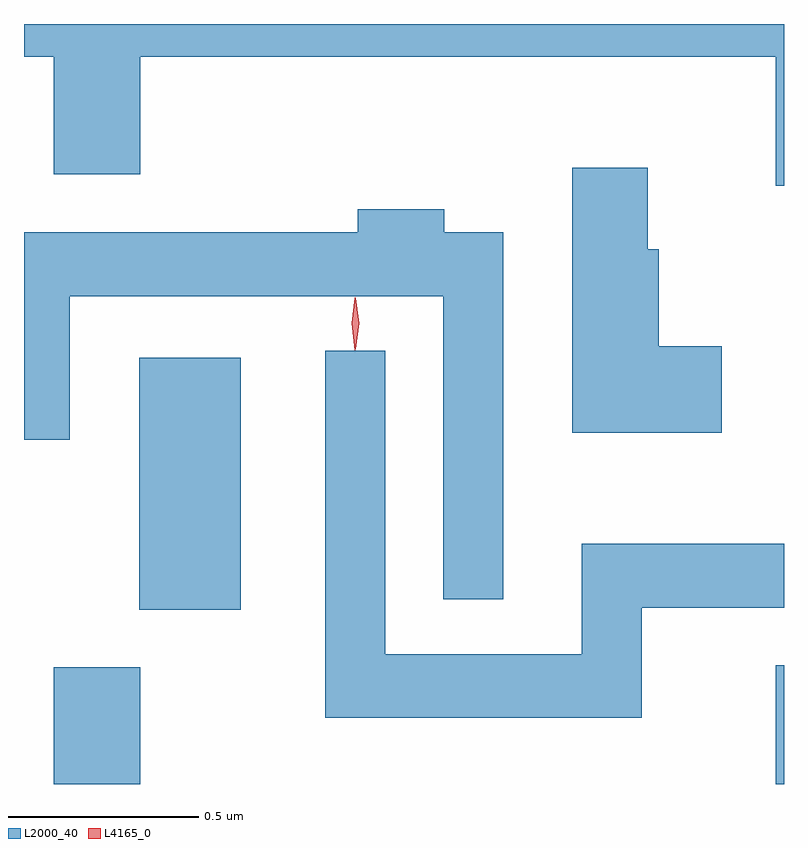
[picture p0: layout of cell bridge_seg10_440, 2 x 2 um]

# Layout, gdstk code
import gdstk
lib = gdstk.Library(unit=1e-6, precision=1e-09)
def R(c, l, rs):  # rectangles x0, y0, x1, y1
    for r in rs: c.add(gdstk.rectangle(r[:2], r[2:], *l))
def P(c, l, *ps):  # polygons
    for p in ps: c.add(gdstk.Polygon(p, *l))
L2000_40 = (2000, 40)
L4165_0 = (4165, 0)

bridge_seg10_440 = lib.new_cell('bridge_seg10_440')
R(bridge_seg10_440, L2000_40, [(1423.831,2087.582,1424.059,2087.889), (1425.731,2087.582,1425.753,2087.894), (1424.056,2088.041,1424.324,2088.704)])
P(bridge_seg10_440, L2000_40, [(1425.753,2089.582),(1423.753,2089.582),(1423.753,2089.496),(1423.831,2089.496),(1423.831,2089.186),(1424.059,2089.186),(1424.059,2089.496),(1425.731,2089.496),(1425.731,2089.156),(1425.753,2089.156)],
  [(1425.589,2088.734),(1425.424,2088.734),(1425.424,2088.989),(1425.394,2088.989),(1425.394,2089.204),(1425.196,2089.204),(1425.196,2088.506),(1425.589,2088.506)],
  [(1425.014,2089.034),(1424.859,2089.034),(1424.859,2089.094),(1424.631,2089.094),(1424.631,2089.034),(1423.753,2089.034),(1423.753,2088.488),(1423.874,2088.488),(1423.874,2088.866),(1424.856,2088.866),(1424.856,2088.068),(1425.014,2088.068)],
  [(1425.379,2088.046),(1425.753,2088.046),(1425.753,2088.214),(1425.221,2088.214),(1425.221,2087.924),(1424.704,2087.924),(1424.704,2088.722),(1424.546,2088.722),(1424.546,2087.756),(1425.379,2087.756)])
P(bridge_seg10_440, L4165_0, [(1424.624,2088.724),(1424.615,2088.794),(1424.624,2088.862),(1424.625,2088.863),(1424.625,2088.862),(1424.635,2088.794),(1424.625,2088.724),(1424.625,2088.724)],
  [(1424.625,2088.727),(1424.625,2088.727),(1424.616,2088.794),(1424.625,2088.86),(1424.626,2088.86),(1424.626,2088.86),(1424.635,2088.794),(1424.626,2088.727)])

lib.write_gds('bridge_seg10_440.gds')
